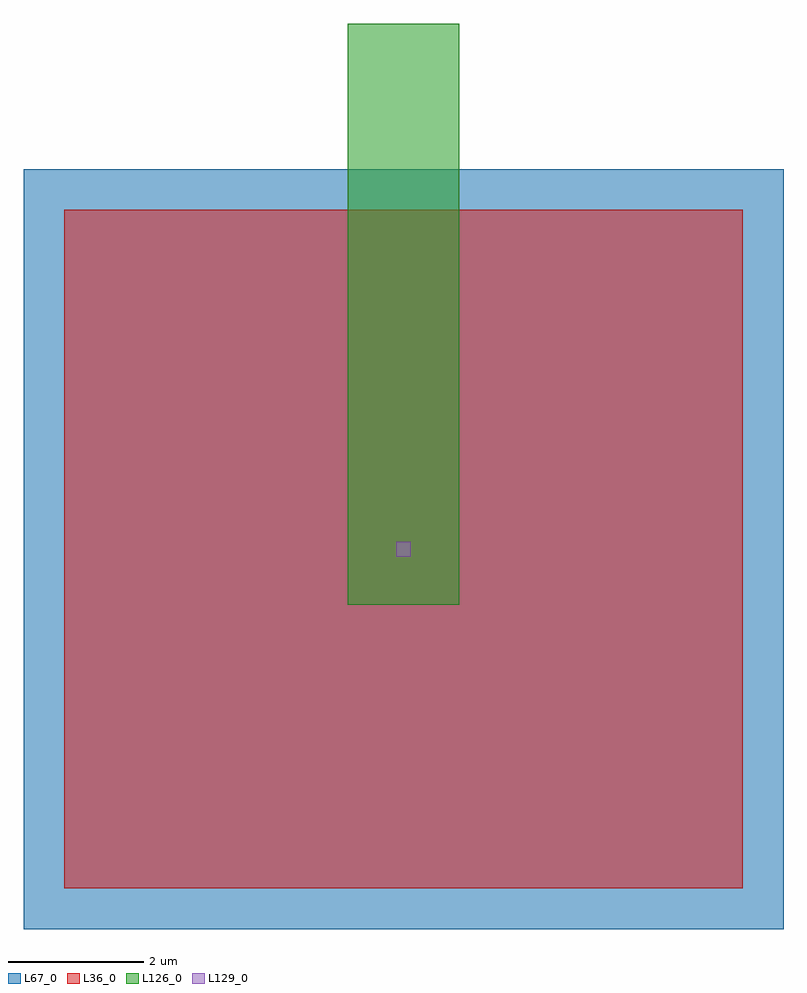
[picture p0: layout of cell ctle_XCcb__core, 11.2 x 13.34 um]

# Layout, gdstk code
import gdstk
lib = gdstk.Library(unit=1e-6, precision=1e-09)
def R(c, l, rs):  # rectangles x0, y0, x1, y1
    for r in rs: c.add(gdstk.rectangle(r[:2], r[2:], *l))
L36_0 = (36, 0)
L67_0 = (67, 0)
L126_0 = (126, 0)
L129_0 = (129, 0)

ctle_xccb__core = lib.new_cell('ctle_XCcb__core')
R(ctle_xccb__core, L36_0, [(0.6,0.6,10.6,10.6)])
R(ctle_xccb__core, L67_0, [(0,0,11.2,11.2)])
R(ctle_xccb__core, L126_0, [(4.78,4.78,6.42,6.42), (4.78,6.42,6.42,11.7), (4.78,11.7,6.42,13.34)])
R(ctle_xccb__core, L129_0, [(5.49,5.49,5.71,5.71)])

lib.write_gds('ctle_XCcb__core.gds')
